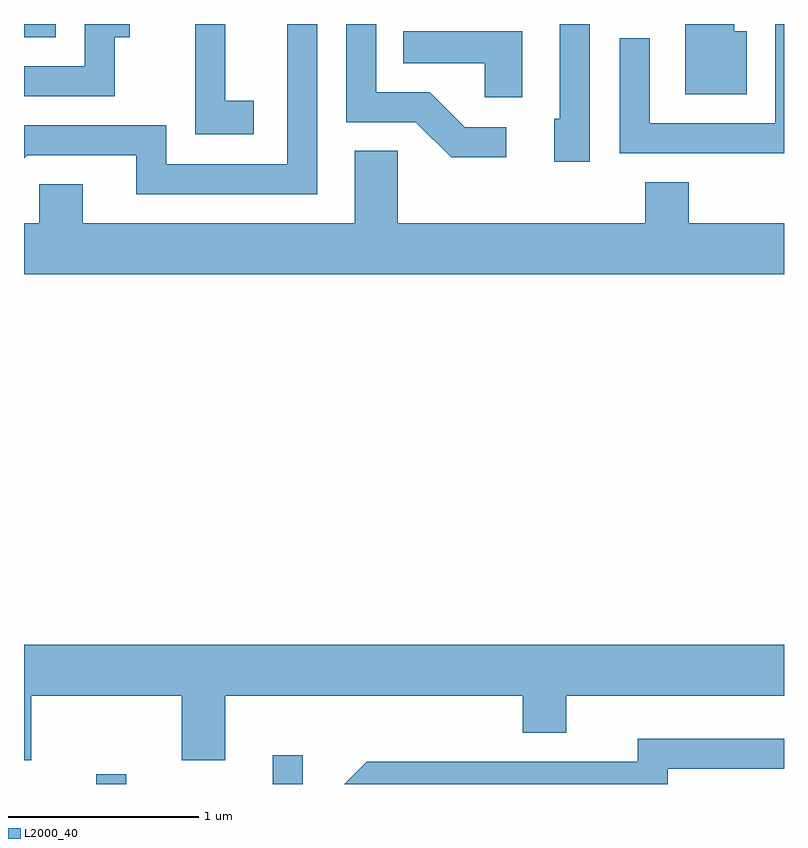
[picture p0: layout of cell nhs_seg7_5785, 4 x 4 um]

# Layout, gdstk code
import gdstk
lib = gdstk.Library(unit=1e-6, precision=1e-09)
def R(c, l, rs):  # rectangles x0, y0, x1, y1
    for r in rs: c.add(gdstk.rectangle(r[:2], r[2:], *l))
def P(c, l, *ps):  # polygons
    for p in ps: c.add(gdstk.Polygon(p, *l))
L2000_40 = (2000, 40)

nhs_seg7_5785 = lib.new_cell('nhs_seg7_5785')
R(nhs_seg7_5785, L2000_40, [(361.991,1758.252,362.149,1758.303), (362.921,1758.252,363.079,1758.403), (361.611,1762.181,361.779,1762.252)])
P(nhs_seg7_5785, L2000_40, [(362.819,1761.849),(362.669,1761.849),(362.669,1762.252),(362.511,1762.252),(362.511,1761.671),(362.819,1761.671)],
  [(362.089,1762.181),(362.168,1762.181),(362.168,1762.252),(361.931,1762.252),(361.931,1762.029),(361.611,1762.029),(361.611,1761.871),(362.089,1761.871)],
  [(364.589,1762.252),(364.431,1762.252),(364.431,1761.754),(364.401,1761.754),(364.401,1761.526),(364.589,1761.526)],
  [(363.154,1762.252),(362.996,1762.252),(362.996,1761.514),(362.359,1761.514),(362.359,1761.719),(361.611,1761.719),(361.611,1761.545),(361.627,1761.561),(362.201,1761.561),(362.201,1761.356),(363.154,1761.356)],
  [(364.148,1761.709),(363.932,1761.709),(363.747,1761.894),(363.464,1761.894),(363.464,1762.252),(363.306,1762.252),(363.306,1761.736),(363.674,1761.736),(363.859,1761.551),(364.148,1761.551)],
  [(365.414,1762.214),(365.349,1762.214),(365.349,1762.252),(365.091,1762.252),(365.091,1761.881),(365.414,1761.881)],
  [(365.611,1762.252),(365.566,1762.252),(365.566,1761.729),(364.904,1761.729),(364.904,1762.178),(364.746,1762.178),(364.746,1761.571),(365.611,1761.571)],
  [(364.234,1762.214),(363.608,1762.214),(363.608,1762.046),(364.036,1762.046),(364.036,1761.866),(364.234,1761.866)],
  [(365.611,1761.204),(365.109,1761.204),(365.109,1761.419),(364.881,1761.419),(364.881,1761.204),(363.579,1761.204),(363.579,1761.584),(363.351,1761.584),(363.351,1761.204),(361.919,1761.204),(361.919,1761.409),(361.691,1761.409),(361.691,1761.204),(361.611,1761.204),(361.611,1760.936),(365.611,1760.936)],
  [(361.649,1758.716),(362.441,1758.716),(362.441,1758.376),(362.669,1758.376),(362.669,1758.716),(364.236,1758.716),(364.236,1758.521),(364.464,1758.521),(364.464,1758.716),(365.611,1758.716),(365.611,1758.984),(361.611,1758.984),(361.611,1758.376),(361.649,1758.376)],
  [(364.999,1758.331),(365.611,1758.331),(365.611,1758.489),(364.841,1758.489),(364.841,1758.369),(363.414,1758.369),(363.296,1758.252),(364.999,1758.252)])

lib.write_gds('nhs_seg7_5785.gds')
